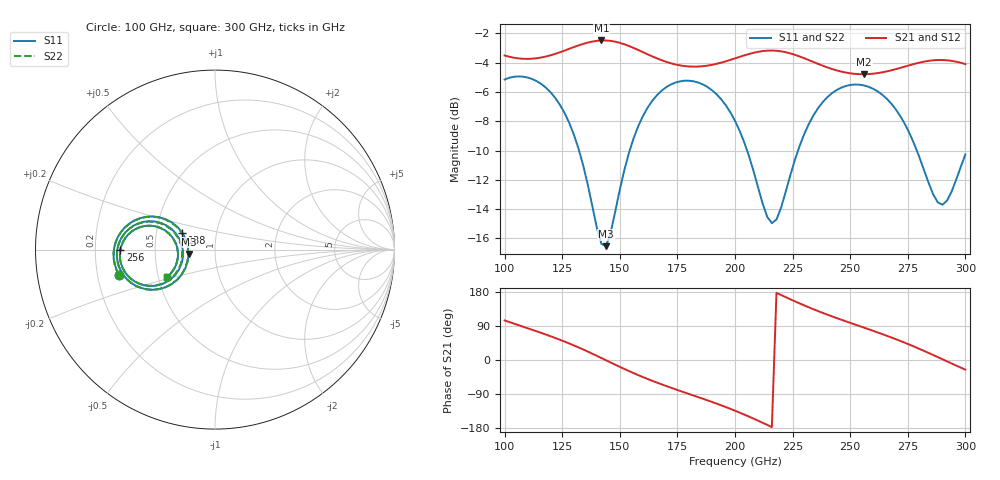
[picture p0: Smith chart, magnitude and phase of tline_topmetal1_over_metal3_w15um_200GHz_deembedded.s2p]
! Created with skrf 2.2.0 (http://scikit-rf.org).
# GHz S DB R 50.0
! Port[1] = P1
! Port[2] = P2
!freq dBS11 angS11 dBS21 angS21 dBS12 angS12 dBS22 angS22
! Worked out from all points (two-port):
!   101 points, 100 GHz to 300 GHz, reference 50 ohm
!   highest |S21| = -2.48 dB at 142 GHz (marker M1); lowest = -4.8 dB at 256 GHz (marker M2)
!   |S21| within 3 dB of the highest: start of sweep to end of sweep
!   lowest |S11| = -16.5 dB at 144 GHz (marker M3), VSWR 1.35, Z = 37.1 - j1.8 ohm
!   |S11| at or under -10 dB: 132.3 GHz to 154.3 GHz (21.98 GHz wide, 15.3 % of centre); 205.2 GHz to 227.4 GHz (22.13 GHz wide, 10.2 % of centre); 278.9 GHz to end of sweep
!   |S22| runs from -16.4 to -4.9 dB; largest |S21 - S12| = 8.7e-14
!   S11 on the Smith chart (normalised r, x): 100 GHz: 0.29, -0.12; 138 GHz: 0.68, +0.13; 256 GHz: 0.31, -0.00; 300 GHz: 0.56, -0.19
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100  -5.15 -165.2  -3.51 104.5  -3.51 104.5  -5.15 -165.1
116  -5.47 169.3  -3.65 71.3  -3.65 71.3  -5.46 169.5
126  -7.43 154.5  -3.18 48.6  -3.18 48.6  -7.42 154.8
134  -10.95 147.8  -2.72 28.0  -2.72 28.0  -10.92 148.2
138  -13.74 152.6  -2.56 16.8  -2.56 16.8  -13.68 153.1
142  -16.36 173.2  -2.48 5.2  -2.48 5.2  -16.25 173.5
144  -16.53 -170.8  -2.48 -0.6  -2.48 -0.6  -16.41 -170.8
156  -9.16 -142.8  -2.99 -34.7  -2.99 -34.7  -9.14 -142.9
168  -5.93 -158.8  -3.82 -64.0  -3.82 -64.0  -5.92 -158.8
184  -5.36 177.6  -4.27 -97.9  -4.27 -97.9  -5.35 177.8
200  -7.97 156.6  -3.71 -133.8  -3.71 -133.8  -7.94 157.1
210  -12.50 157.3  -3.26 -160.1  -3.26 -160.1  -12.40 158.0
216  -14.95 -177.8  -3.17 -177.0  -3.17 -177.0  -14.77 -177.7
224  -11.69 -147.6  -3.37 160.3  -3.37 160.3  -11.60 -148.2
234  -7.61 -150.8  -3.95 134.1  -3.95 134.1  -7.58 -151.1
246  -5.71 -166.2  -4.60 106.6  -4.60 106.6  -5.70 -166.4
256  -5.56 -179.7  -4.79 85.4  -4.79 85.4  -5.54 -179.8
268  -6.83 165.4  -4.52 59.1  -4.52 59.1  -6.81 165.3
278  -9.64 158.3  -4.08 34.7  -4.08 34.7  -9.62 158.4
288  -13.53 176.8  -3.82 7.6  -3.82 7.6  -13.50 176.8
292  -13.43 -166.4  -3.84 -3.6  -3.84 -3.6  -13.40 -166.6
300  -10.26 -150.3  -4.10 -25.5  -4.10 -25.5  -10.25 -150.4
